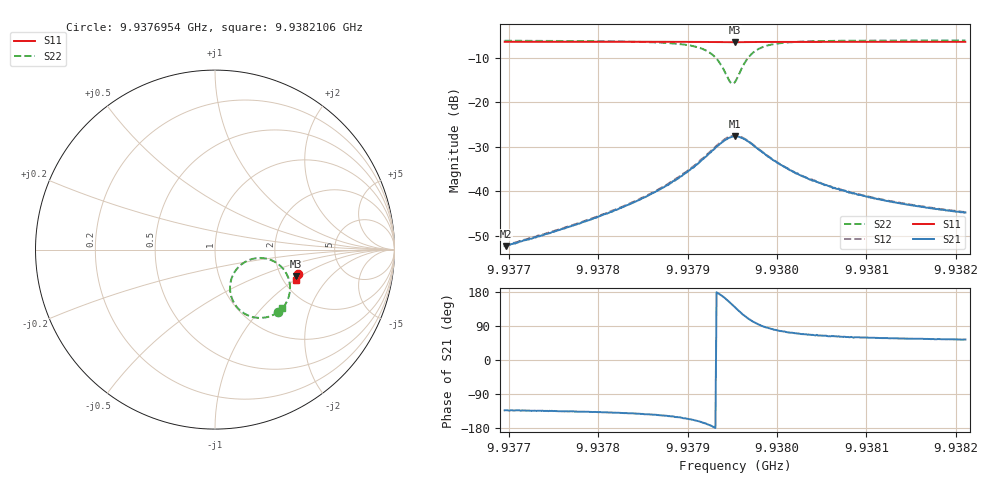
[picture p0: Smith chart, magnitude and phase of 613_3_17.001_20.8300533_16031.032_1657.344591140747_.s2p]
#  HZ  S  RI  R  50.00
! Rohde & Schwarz Vector Network Analyzer
! Rohde-Schwarz,ZNB20-2Port,1311601062101988,3.16
! Created: UTC 3/20/2024, 11:19:37 PM
! freq[Hz]  re:S11  im:S11  re:S21  im:S21  re:S12  im:S12  re:S22  im:S22
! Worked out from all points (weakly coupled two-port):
!   401 points, 9.9376954 GHz to 9.9382106 GHz, reference 50 ohm
!   highest |S21| = -27.61 dB at 9.937953 GHz (marker M1); lowest = -52.3 dB at 9.9376967 GHz (marker M2)
!   lowest |S11| = -6.5 dB at 9.937953 GHz (marker M3), VSWR 2.82, Z = 120 - j46 ohm
!   |S11| at or under -10 dB: nowhere
!   |S22| runs from -15.8 to -6.1 dB; largest |S21 - S12| = 0.0021
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9.93769538e9  0.4628 -0.1342  -0.00167 -0.00179  -0.00166 -0.00177  0.3525 -0.3465
9.93769666e9  0.4627 -0.1344  -0.00164 -0.00179  -0.00171 -0.00182  0.3523 -0.3467
9.93778168e9  0.4606 -0.1401  -0.00324 -0.00309  -0.00333 -0.00307  0.3339 -0.3586
9.93782933e9  0.4594 -0.1434  -0.00521 -0.00435  -0.00536 -0.00437  0.3141 -0.3684
9.93786798e9  0.4579 -0.1463  -0.00858 -0.0059  -0.00888 -0.0059  0.2828 -0.3775
9.93790147e9  0.4563 -0.1486  -0.0157 -0.00699  -0.0162 -0.00704  0.2229 -0.3783
9.93792079e9  0.4548 -0.1499  -0.0242 -0.00515  -0.0252 -0.00474  0.1546 -0.3502
9.93793109e9  0.4536 -0.1501  -0.0309 -0.000307  -0.0317 0.000623  0.1087 -0.3015
9.93794011e9  0.4525 -0.1497  -0.0356 0.00875  -0.0364 0.0101  0.0839 -0.2211
9.93794784e9  0.452 -0.1491  -0.0353 0.0198  -0.0356 0.0217  0.1052 -0.1317
9.93795041e9  0.4521 -0.1487  -0.0336 0.0237  -0.0335 0.0254  0.1249 -0.104
9.93795299e9  0.4522 -0.1483  -0.0315 0.0272  -0.031 0.029  0.1494 -0.0808
9.93795943e9  0.4529 -0.148  -0.0232 0.0331  -0.0223 0.0345  0.2245 -0.0487
9.93796716e9  0.4539 -0.1478  -0.0127 0.0344  -0.0117 0.0353  0.3079 -0.0566
9.9379736e9  0.4545 -0.1483  -0.00599 0.0323  -0.00503 0.0329  0.3562 -0.0839
9.93798004e9  0.4552 -0.1491  -0.00156 0.0293  -0.000601 0.0296  0.3861 -0.1155
9.93799034e9  0.4555 -0.1503  0.00245 0.0243  0.003 0.0247  0.4093 -0.1602
9.93800451e9  0.4554 -0.1518  0.00476 0.0193  0.00508 0.0193  0.418 -0.2051
9.93803929e9  0.4548 -0.1547  0.0053 0.0121  0.00582 0.0123  0.411 -0.2625
9.93806505e9  0.454 -0.1567  0.00507 0.00967  0.00525 0.00947  0.4032 -0.2834
9.93812559e9  0.4524 -0.1609  0.00417 0.0065  0.00431 0.00652  0.3889 -0.309
9.9382106e9  0.4501 -0.1666  0.00341 0.00469  0.00353 0.00467  0.3758 -0.3263
